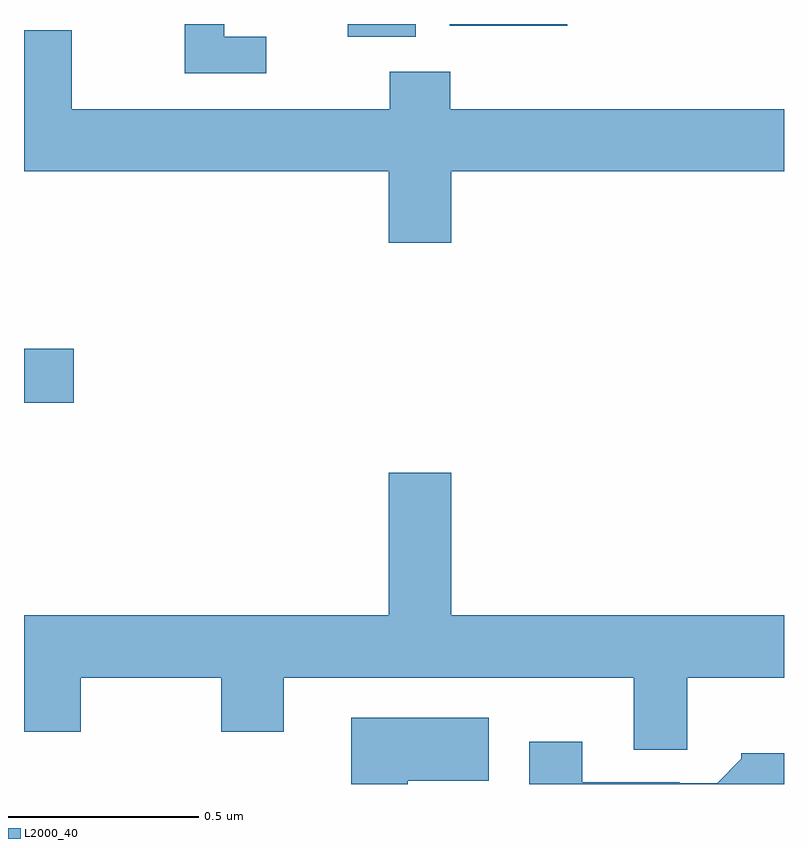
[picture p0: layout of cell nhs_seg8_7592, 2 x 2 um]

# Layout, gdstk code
import gdstk
lib = gdstk.Library(unit=1e-6, precision=1e-09)
def R(c, l, rs):  # rectangles x0, y0, x1, y1
    for r in rs: c.add(gdstk.rectangle(r[:2], r[2:], *l))
def P(c, l, *ps):  # polygons
    for p in ps: c.add(gdstk.Polygon(p, *l))
L2000_40 = (2000, 40)

nhs_seg8_7592 = lib.new_cell('nhs_seg8_7592')
R(nhs_seg8_7592, L2000_40, [(212,1103.903,212.131,1104.045), (212.852,1104.866,213.031,1104.9), (213.12,1104.895,213.43,1104.9)])
P(nhs_seg8_7592, L2000_40, [(212.638,1104.867),(212.527,1104.867),(212.527,1104.9),(212.423,1104.9),(212.423,1104.771),(212.638,1104.771)],
  [(213.124,1104.512),(214,1104.512),(214,1104.676),(213.122,1104.676),(213.122,1104.775),(212.962,1104.775),(212.962,1104.676),(212.125,1104.676),(212.125,1104.884),(212,1104.884),(212,1104.512),(212.96,1104.512),(212.96,1104.324),(213.124,1104.324)],
  [(213.745,1103.18),(214,1103.18),(214,1103.344),(213.124,1103.344),(213.124,1103.719),(212.96,1103.719),(212.96,1103.344),(212,1103.344),(212,1103.037),(212.149,1103.037),(212.149,1103.18),(212.519,1103.18),(212.519,1103.037),(212.683,1103.037),(212.683,1103.18),(213.605,1103.18),(213.605,1102.99),(213.745,1102.99)],
  [(213.01,1102.909),(213.223,1102.909),(213.223,1103.074),(212.861,1103.074),(212.861,1102.9),(213.01,1102.9)],
  [(214,1102.981),(213.888,1102.981),(213.888,1102.966),(213.824,1102.902),(213.725,1102.902),(213.725,1102.905),(213.469,1102.905),(213.469,1103.011),(213.329,1103.011),(213.329,1102.9),(214,1102.9)])

lib.write_gds('nhs_seg8_7592.gds')
